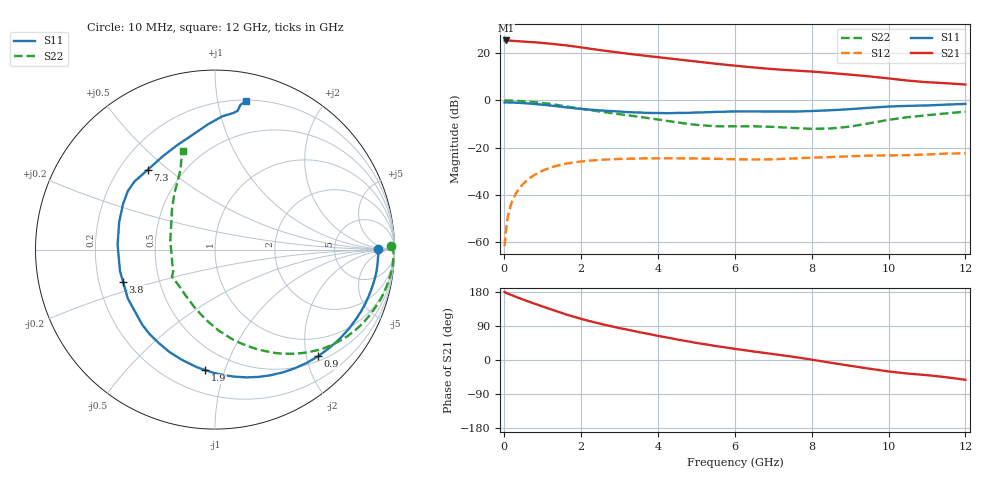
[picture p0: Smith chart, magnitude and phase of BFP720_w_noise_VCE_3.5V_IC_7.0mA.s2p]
! Infineon Technologies  Discrete & RF Semiconductors
! BFP720
! VCE =  3.5 V,  IC =  7.0 mA
! Common Emitter S-Parameters:  Aug 2012
# GHz  S  MA  R  50
!  f  S11  S21  S12  S22
! GHz  MAG  ANG  MAG  ANG  MAG  ANG  MAG  ANG
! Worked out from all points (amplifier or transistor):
!   105 points, 10 MHz to 12 GHz, reference 50 ohm
!   highest |S21| = 25.5 dB at 50 MHz (marker M1)
!   |S21| within 3 dB of that: start of sweep to 2.017 GHz
!   unconditionally stable (mu >= 1): 6.077 GHz to 11.32 GHz
!   at 300 MHz: K = 0.08, MSG = 32.5 dB, |S12| = -39.7 dB
!   at 3.6 GHz: K = 0.59, MSG = 21.9 dB, |S12| = -24.6 dB
!   at 12 GHz: K = 0.79, MSG = 14.6 dB, |S12| = -22.4 dB
!   lowest NFmin = 0.44 dB at 450 MHz
!   S11 on the Smith chart (normalised r, x): 10 MHz: 20, +1; 900 MHz: 0.59, -2.23; 1.9 GHz: 0.35, -0.86; 3.8 GHz: 0.30, -0.16; 7.3 GHz: 0.32, +0.43; 12 GHz: 0.21, +1.21
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0.01  0.9066 0.3  18.79 179.7  0.0008 -45.1  0.9801 1.1
0.02  0.912 -0.9  18.7 178.3  0.001 81.4  0.994 -0.5
0.05  0.9094 -2.5  18.87 177.1  0.0018 80.6  0.9949 -1.6
0.45  0.8836 -22.9  17.97 161.0  0.0154 75.7  0.9684 -15.2
0.9  0.8267 -45.9  16.98 144.7  0.0294 63.0  0.9023 -29.7
1.2  0.7811 -61.2  16.1 134.2  0.0372 54.7  0.8422 -38.9
1.4  0.7493 -71.2  15.46 127.4  0.0415 49.5  0.798 -44.7
1.6  0.7157 -81.4  14.91 120.5  0.0451 44.7  0.7529 -50.0
1.9  0.6735 -94.7  13.79 111.5  0.0493 38.1  0.6879 -57.4
2.1  0.6503 -102.8  13.06 106.0  0.0514 34.4  0.6483 -61.7
2.4  0.6243 -114.1  12.06 98.1  0.0539 29.2  0.5963 -67.8
2.8  0.5952 -127.8  10.91 88.6  0.0563 23.6  0.5378 -75.1
3.5  0.557 -150.6  9.285 73.6  0.0585 15.6  0.4514 -87.4
3.8  0.5428 -160.6  8.682 67.9  0.0588 12.9  0.4161 -93.0
4.1  0.5396 -170.4  8.151 61.9  0.0591 10.3  0.3834 -99.3
5  0.5556 163.9  6.73 45.0  0.0585 3.9  0.3034 -122.8
6.1  0.585 144.8  5.395 28.0  0.0562 0.3  0.2823 -144.8
7.3  0.5816 130.0  4.468 11.5  0.0576 1.1  0.2665 -151.6
8.5  0.6204 109.4  3.838 -7.3  0.0627 -1.4  0.2542 168.3
9.5  0.6994 93.2  3.249 -22.9  0.0673 -5.2  0.3275 137.1
10.5  0.7676 82.4  2.646 -35.8  0.0689 -9.0  0.4413 117.8
12  0.8462 78.4  2.184 -52.2  0.0756 -15.4  0.5776 107.7
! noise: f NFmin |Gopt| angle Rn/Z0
0.45  0.44  0.4  3  -0.03
1.8  0.52  0.37  23  0.13
2.4  0.57  0.28  50  0.26
5.5  0.71  0.17  49  0.16
10  0.94  0.39  -86  0.2
